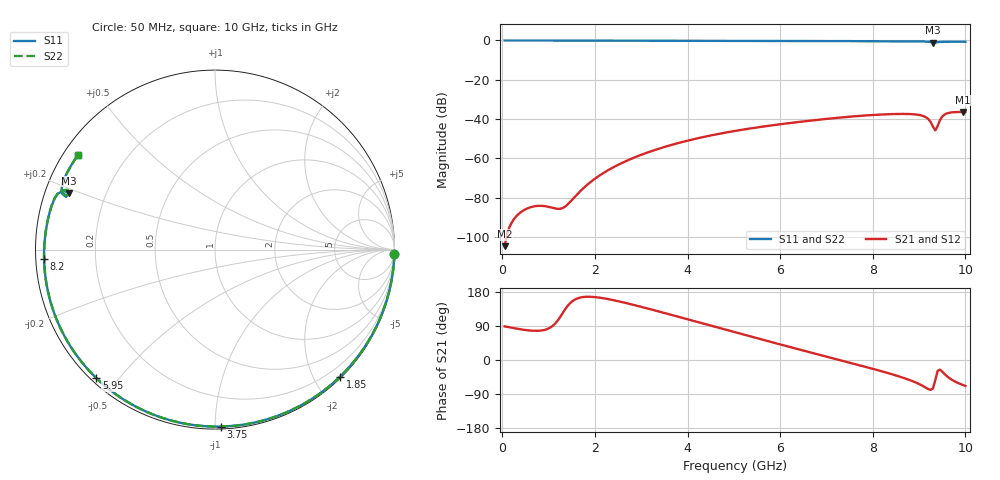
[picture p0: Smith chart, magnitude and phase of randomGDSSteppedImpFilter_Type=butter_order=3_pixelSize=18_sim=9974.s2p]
! freq	dB(S11)	phase(S11)	dB(S12)	phase(S12)
!  dB(S21)	phase(S21)	dB(S22)	phase(S22)
!S-par simulation data
#  GHz  S  DB  R 50
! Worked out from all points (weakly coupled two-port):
!   200 points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, 50 MHz to 10 GHz, reference 50 ohm
!   highest |S21| = -36.36 dB at 9.95 GHz (marker M1); lowest = -104.6 dB at 50 MHz (marker M2)
!   lowest |S11| = -1.2 dB at 9.3 GHz (marker M3), VSWR 14.87, Z = 3.48 + j9.31 ohm
!   |S11| at or under -10 dB: nowhere
!   |S22| runs from -1.2 to 0.0 dB; largest |S21 - S12| = 0
!   S11 on the Smith chart (normalised r, x): 50 MHz: 0, -90; 1.85 GHz: 0.02, -2.39; 3.75 GHz: 0.01, -1.03; 5.95 GHz: 0.02, -0.44; 8.2 GHz: 0.02, -0.03; 10 GHz: 0.04, +0.31
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0.05  -0.00 -1.3  -104.59 88.8  -104.59 88.8  -0.00 -1.3
0.75  -0.02 -18.7  -84.15 77.0  -84.15 77.0  -0.02 -18.7
1.55  -0.05 -38.3  -79.90 158.2  -79.90 158.2  -0.05 -38.3
1.75  -0.05 -43.0  -75.13 166.2  -75.13 166.2  -0.05 -43.0
1.85  -0.06 -45.4  -73.05 167.0  -73.05 167.0  -0.06 -45.4
2.15  -0.07 -52.5  -67.89 163.6  -67.89 163.6  -0.07 -52.5
2.5  -0.08 -60.5  -63.25 155.2  -63.25 155.2  -0.08 -60.5
3.4  -0.11 -80.6  -54.89 127.4  -54.89 127.4  -0.11 -80.6
3.75  -0.12 -88.2  -52.48 115.8  -52.48 115.8  -0.12 -88.2
5.05  -0.17 -114.9  -45.90 72.3  -45.90 72.3  -0.17 -114.9
5.95  -0.22 -132.7  -42.76 42.7  -42.76 42.7  -0.22 -132.7
6.7  -0.28 -147.3  -40.64 18.5  -40.64 18.5  -0.28 -147.3
8.2  -0.41 -176.9  -37.64 -30.0  -37.64 -30.0  -0.41 -176.9
8.35  -0.43 -179.9  -37.49 -35.3  -37.49 -35.3  -0.43 -179.9
9.05  -0.52 164.7  -38.13 -66.4  -38.13 -66.4  -0.52 164.8
9.2  -0.64 160.4  -39.98 -76.8  -39.98 -76.8  -0.61 160.6
9.3  -1.17 158.8  -43.78 -74.9  -43.78 -74.9  -1.04 157.9
9.35  -1.11 160.5  -45.73 -53.1  -45.73 -53.1  -1.20 159.7
9.45  -0.75 158.7  -40.54 -25.5  -40.54 -25.5  -0.78 158.8
9.55  -0.66 156.0  -37.64 -36.9  -37.64 -36.9  -0.68 156.1
9.95  -0.65 146.4  -36.36 -66.2  -36.36 -66.2  -0.65 146.4
10  -0.66 145.2  -36.37 -68.4  -36.37 -68.4  -0.66 145.2
